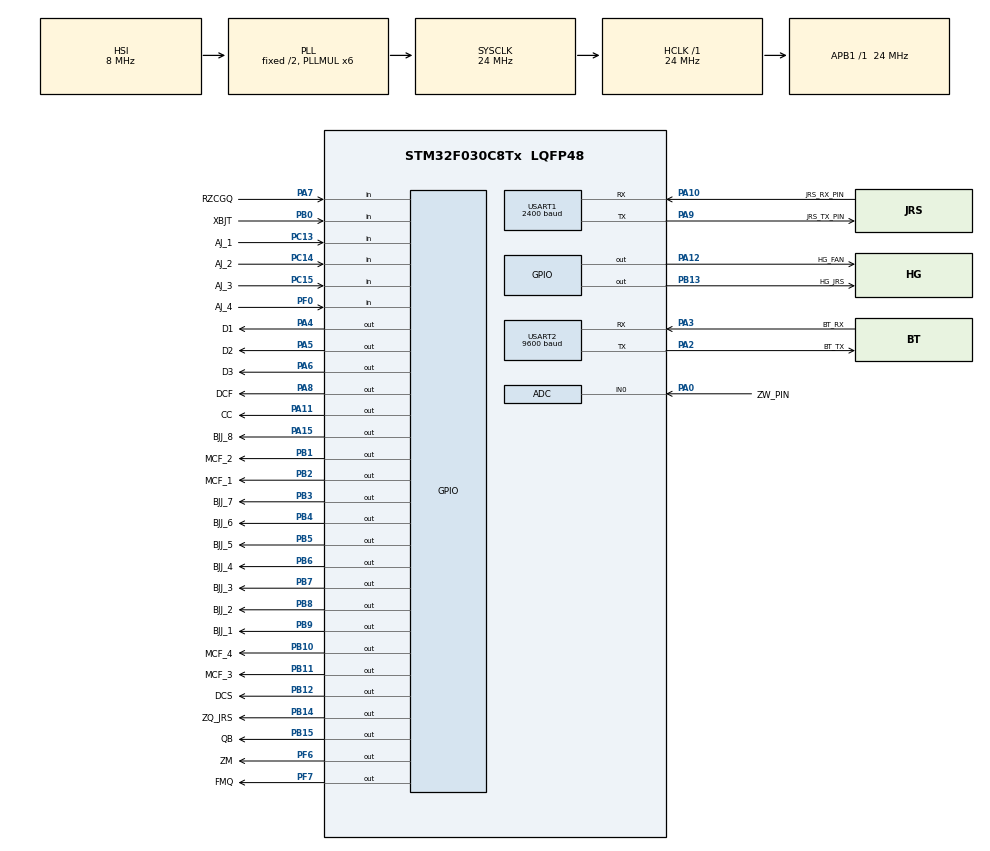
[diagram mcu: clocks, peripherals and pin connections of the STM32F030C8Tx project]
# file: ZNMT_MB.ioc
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ADC.ClockPrescaler=ADC_CLOCK_SYNC_PCLK_DIV4
Dma.Request0=USART1_TX
Dma.Request1=USART2_TX
Dma.USART1_TX.0.Direction=DMA_MEMORY_TO_PERIPH
Dma.USART1_TX.0.Instance=DMA1_Channel2
Dma.USART1_TX.0.MemDataAlignment=DMA_MDATAALIGN_BYTE
Dma.USART1_TX.0.MemInc=DMA_MINC_ENABLE
Dma.USART1_TX.0.Mode=DMA_NORMAL
Dma.USART1_TX.0.PeriphDataAlignment=DMA_PDATAALIGN_BYTE
Dma.USART1_TX.0.PeriphInc=DMA_PINC_DISABLE
Dma.USART1_TX.0.Priority=DMA_PRIORITY_LOW
Dma.USART2_TX.1.Direction=DMA_MEMORY_TO_PERIPH
Dma.USART2_TX.1.Instance=DMA1_Channel4
Dma.USART2_TX.1.MemDataAlignment=DMA_MDATAALIGN_BYTE
Dma.USART2_TX.1.MemInc=DMA_MINC_ENABLE
Dma.USART2_TX.1.Mode=DMA_NORMAL
Dma.USART2_TX.1.PeriphDataAlignment=DMA_PDATAALIGN_BYTE
Dma.USART2_TX.1.PeriphInc=DMA_PINC_DISABLE
Dma.USART2_TX.1.Priority=DMA_PRIORITY_LOW
FREERTOS.BinarySemaphores01=RCTig,Dynamic,NULL
FREERTOS.INCLUDE_uxTaskPriorityGet=0
FREERTOS.INCLUDE_vTaskDelayUntil=1
FREERTOS.INCLUDE_vTaskPrioritySet=0
FREERTOS.Queues01=clearQue,2,uint8_t,0,Dynamic,NULL,NULL;ctrlQue,6,uint8_t,0,Dynamic,NULL,NULL;sCtrlQue,3,uint8_t,0,Dynamic,NULL,NULL;jkQue,16,uint8_t,0,Dynamic,NULL,NULL
FREERTOS.Tasks01=defaultTask,0,100,StartDefaultTask,Default,NULL,Dynamic,NULL,NULL;RCTask,2,64,StartRemoteControl,As external,NULL,Dynamic,NULL,NULL;closestoolTask,0,64,Startclosestool,As external,NULL,Dynamic,NULL,NULL;ctRecord,-2,64,StartCTR,Default,NULL,Dynamic,NULL,NULL
FREERTOS.Timers01=buttonTimer,buttonLoop,osTimerPeriodic,As external,NULL,Dynamic,NULL;ledTimer,ledLoop,osTimerPeriodic,As external,NULL,Dynamic,NULL;hotwater,hotWaterLoop,osTimerPeriodic,As external,NULL,Dynamic,NULL;sitTime,sitLoop,osTimerPeriodic,As external,NULL,Dynamic,NULL;hasSit,startIsSit,osTimerPeriodic,As external,NULL,Dynamic,NULL
FREERTOS.configLIBRARY_MAX_SYSCALL_INTERRUPT_PRIORITY=2
FREERTOS.configMINIMAL_STACK_SIZE=64
FREERTOS.configTOTAL_HEAP_SIZE=4000
FREERTOS.configUSE_IDLE_HOOK=0
FREERTOS.configUSE_TIMERS=1
Mcu.Family=STM32F0
Mcu.Name=STM32F030C8Tx
Mcu.Package=LQFP48
NVIC.DMA1_Channel2_3_IRQn=true\:2\:0\:false\:false\:false\:true\:false\:true
NVIC.DMA1_Channel4_5_IRQn=true\:2\:0\:false\:false\:false\:true\:false\:true
NVIC.TIM14_IRQn=true\:2\:0\:false\:false\:true\:true\:true\:false
NVIC.TIM16_IRQn=true\:2\:0\:false\:false\:true\:true\:true\:false
NVIC.TIM17_IRQn=true\:0\:0\:false\:false\:true\:false\:false\:true
NVIC.TIM3_IRQn=true\:2\:0\:false\:false\:true\:true\:true\:true
NVIC.TIM6_IRQn=true\:2\:0\:false\:false\:true\:true\:true\:false
NVIC.TimeBase=TIM17_IRQn
NVIC.TimeBaseIP=TIM17
NVIC.USART1_IRQn=true\:3\:0\:true\:false\:true\:false\:true\:false
NVIC.USART2_IRQn=true\:3\:0\:true\:false\:true\:true\:true\:false
PA0.GPIO_Label=ZW_PIN
PA0.Mode=IN0
PA0.Signal=ADC_IN0
PA10.GPIO_Label=JRS_RX_PIN
PA10.Mode=Asynchronous
PA10.Signal=USART1_RX
PA11.GPIO_Label=CC
PA11.GPIO_PuPd=GPIO_PULLUP
PA11.Signal=GPIO_Output
PA12.GPIO_Label=HG_FAN
PA12.GPIO_PuPd=GPIO_PULLUP
PA12.Signal=GPIO_Output
PA13.Mode=Serial_Wire
PA13.Signal=SYS_SWDIO
PA14.Mode=Serial_Wire
PA14.Signal=SYS_SWCLK
PA15.GPIO_Label=BJJ_8
PA15.GPIO_PuPd=GPIO_PULLUP
PA15.Signal=GPIO_Output
PA2.GPIO_Label=BT_TX
PA2.Mode=Asynchronous
PA2.Signal=USART2_TX
PA3.GPIO_Label=BT_RX
PA3.Mode=Asynchronous
PA3.Signal=USART2_RX
PA4.GPIO_Label=D1
PA4.GPIO_PuPd=GPIO_PULLUP
PA4.Signal=GPIO_Output
PA5.GPIO_Label=D2
PA5.GPIO_PuPd=GPIO_PULLUP
PA5.Signal=GPIO_Output
PA6.GPIO_Label=D3
PA6.GPIO_PuPd=GPIO_PULLUP
PA6.Signal=GPIO_Output
PA7.GPIO_Label=RZCGQ
PA7.Signal=GPIO_Input
PA8.GPIO_Label=DCF
PA8.GPIO_PuPd=GPIO_PULLUP
PA8.Signal=GPIO_Output
PA9.GPIO_Label=JRS_TX_PIN
PA9.Mode=Asynchronous
PA9.Signal=USART1_TX
PB0.GPIO_Label=XBJT
PB0.GPIO_PuPd=GPIO_PULLUP
PB0.Signal=GPIO_Input
PB1.GPIO_Label=MCF_2
PB1.GPIO_PuPd=GPIO_PULLUP
PB1.Signal=GPIO_Output
PB10.GPIO_Label=MCF_4
PB10.GPIO_PuPd=GPIO_PULLUP
PB10.Signal=GPIO_Output
PB11.GPIO_Label=MCF_3
PB11.GPIO_PuPd=GPIO_PULLUP
PB11.Signal=GPIO_Output
PB12.GPIO_Label=DCS
PB12.GPIO_PuPd=GPIO_PULLUP
PB12.Signal=GPIO_Output
PB13.GPIO_Label=HG_JRS
PB13.GPIO_PuPd=GPIO_PULLUP
PB13.Signal=GPIO_Output
PB14.GPIO_Label=ZQ_JRS
PB14.GPIO_PuPd=GPIO_PULLUP
PB14.Signal=GPIO_Output
PB15.GPIO_Label=QB
PB15.Signal=GPIO_Output
PB2.GPIO_Label=MCF_1
PB2.GPIO_PuPd=GPIO_PULLUP
PB2.Signal=GPIO_Output
PB3.GPIO_Label=BJJ_7
PB3.GPIO_PuPd=GPIO_PULLUP
PB3.Signal=GPIO_Output
PB4.GPIO_Label=BJJ_6
PB4.GPIO_PuPd=GPIO_PULLUP
PB4.Signal=GPIO_Output
PB5.GPIO_Label=BJJ_5
PB5.GPIO_PuPd=GPIO_PULLUP
PB5.Signal=GPIO_Output
PB6.GPIO_Label=BJJ_4
PB6.GPIO_PuPd=GPIO_PULLUP
PB6.Signal=GPIO_Output
PB7.GPIO_Label=BJJ_3
PB7.GPIO_PuPd=GPIO_PULLUP
PB7.Signal=GPIO_Output
PB8.GPIO_Label=BJJ_2
PB8.GPIO_PuPd=GPIO_PULLUP
PB8.Signal=GPIO_Output
PB9.GPIO_Label=BJJ_1
PB9.GPIO_PuPd=GPIO_PULLUP
PB9.Signal=GPIO_Output
PC13.GPIO_Label=AJ_1
PC13.GPIO_PuPd=GPIO_PULLUP
PC13.Signal=GPIO_Input
PC14-OSC32_IN.GPIO_Label=AJ_2
PC14-OSC32_IN.GPIO_PuPd=GPIO_PULLUP
PC14-OSC32_IN.Signal=GPIO_Input
PC15-OSC32_OUT.GPIO_Label=AJ_3
PC15-OSC32_OUT.GPIO_PuPd=GPIO_PULLUP
PC15-OSC32_OUT.Signal=GPIO_Input
PF0-OSC_IN.GPIO_Label=AJ_4
PF0-OSC_IN.GPIO_PuPd=GPIO_PULLUP
PF0-OSC_IN.Signal=GPIO_Input
PF6.GPIO_Label=ZM
PF6.GPIO_PuPd=GPIO_PULLUP
PF6.Signal=GPIO_Output
PF7.GPIO_Label=FMQ
PF7.GPIO_PuPd=GPIO_PULLUP
PF7.Signal=GPIO_Output
ProjectManager.HeapSize=0x200
ProjectManager.StackSize=0x400
ProjectManager.TargetToolchain=MDK-ARM V5
RCC.AHBFreq_Value=24000000
RCC.APB1Freq_Value=24000000
RCC.APB1TimFreq_Value=24000000
RCC.HCLKFreq_Value=24000000
RCC.PLLMUL=RCC_PLL_MUL6
RCC.SYSCLKFreq_VALUE=24000000
RCC.SYSCLKSource=RCC_SYSCLKSOURCE_PLLCLK
TIM14.ClockDivision=TIM_CLOCKDIVISION_DIV1
TIM14.Period=6
TIM14.Prescaler=7999
TIM16.Period=1000
TIM16.Prescaler=24000
TIM3.Period=299
TIM3.Prescaler=23999
TIM6.AutoReloadPreload=TIM_AUTORELOAD_PRELOAD_DISABLE
TIM6.Period=6
TIM6.Prescaler=7999
USART1.BaudRate=2400
USART1.OverSampling=UART_OVERSAMPLING_8
USART1.VirtualMode-Asynchronous=VM_ASYNC
USART2.BaudRate=9600
USART2.VirtualMode-Asynchronous=VM_ASYNC
VP_ADC_Vref_Input.Mode=IN-Vrefint
VP_FREERTOS_VS_CMSIS_V1.Mode=CMSIS_V1
VP_SYS_VS_tim17.Mode=TIM17
VP_TIM14_VS_ClockSourceINT.Mode=Enable_Timer
VP_TIM16_VS_ClockSourceINT.Mode=Enable_Timer
VP_TIM3_VS_OPM.Mode=OPM_bit
VP_TIM6_VS_ClockSourceINT.Mode=Enable_Timer
board=custom

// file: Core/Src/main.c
/* USER CODE BEGIN Header */
/**
  ******************************************************************************
  * @file           : main.c
  * @brief          : Main program body
  ******************************************************************************
  * @attention
  *
  * <h2><center>&copy; Copyright (c) 2019 STMicroelectronics.
  * All rights reserved.</center></h2>
  *
  * This software component is licensed by ST under Ultimate Liberty license
  * SLA0044, the "License"; You may not use this file except in compliance with
  * the License. You may obtain a copy of the License at:
  *                             www.st.com/SLA0044
  *
  ******************************************************************************
  */
/* USER CODE END Header */

#include "main.h"
#include "cmsis_os.h"

/* USER CODE BEGIN Includes */
#include "seat_heat.h"
#include "eeprom.h"
#include "stm32f0xx_hal_pwr.h"
/* USER CODE END Includes */

/* USER CODE BEGIN PD */
_Bool	is_noAC =pdFALSE;
uint8_t clearState=0;
extern uint32_t jkListRead;
extern uint32_t jkListWrite;
uint32_t * timeStamp;
/* USER CODE END PD */

ADC_HandleTypeDef hadc;

osThreadId defaultTaskHandle;
osThreadId RCTaskHandle;
osThreadId closestoolTaskHandle;
osThreadId ctRecordHandle;
osMessageQId clearQueHandle;
osMessageQId ctrlQueHandle;
osMessageQId sCtrlQueHandle;
osMessageQId jkQueHandle;
osTimerId buttonTimerHandle;
osTimerId ledTimerHandle;
osTimerId hotwaterHandle;
osTimerId sitTimeHandle;
osTimerId hasSitHandle;
osSemaphoreId RCTigHandle;

void SystemClock_Config(void);
static void MX_GPIO_Init(void);
static void MX_DMA_Init(void);
static void MX_USART2_UART_Init(void);
static void MX_USART1_UART_Init(void);
static void MX_ADC_Init(void);
static void MX_TIM6_Init(void);
static void MX_TIM14_Init(void);
static void MX_TIM16_Init(void);
static void MX_TIM3_Init(void);
void StartDefaultTask(void const * argument);
extern void StartRemoteControl(void const * argument);
extern void Startclosestool(void const * argument);
void StartCTR(void const * argument);
extern void buttonLoop(void const * argument);
extern void ledLoop(void const * argument);
extern void hotWaterLoop(void const * argument);
extern void sitLoop(void const * argument);
extern void startIsSit(void const * argument);

int main(void)
{
  /* USER CODE BEGIN 1 */
	//printf("AD value = 0x%04X\r\n", 1234);

  /* USER CODE END 1 */

  /* MCU Configuration--------------------------------------------------------*/

  /* Reset of all peripherals, Initializes the Flash interface and the Systick. */
  HAL_Init();

  /* Configure the system clock */
  SystemClock_Config();

  /* Initialize all configured peripherals */
  MX_GPIO_Init();
  MX_DMA_Init();
  MX_USART2_UART_Init();
  MX_USART1_UART_Init();
  MX_ADC_Init();
  MX_TIM6_Init();
  MX_TIM14_Init();
  MX_TIM16_Init();
  MX_TIM3_Init();
  /* USER CODE BEGIN 2 */
	LL_GPIO_SetOutputPin(ZQ_JRS_GPIO_Port,ZQ_JRS_Pin);
	LL_GPIO_SetOutputPin(HG_JRS_GPIO_Port,HG_JRS_Pin);
	is_noAC=!LL_GPIO_IsInputPinSet(AJ_1_GPIO_Port,AJ_1_Pin);
  /* USER CODE END 2 */

  /* Create the semaphores(s) */
  /* definition and creation of RCTig */
  osSemaphoreDef(RCTig);
  RCTigHandle = osSemaphoreCreate(osSemaphore(RCTig), 1);

  /* Create the timer(s) */
  /* definition and creation of buttonTimer */
  osTimerDef(buttonTimer, buttonLoop);
  buttonTimerHandle = osTimerCreate(osTimer(buttonTimer), osTimerPeriodic, NULL);

  /* definition and creation of ledTimer */
  osTimerDef(ledTimer, ledLoop);
  ledTimerHandle = osTimerCreate(osTimer(ledTimer), osTimerPeriodic, NULL);

  /* definition and creation of hotwater */
  osTimerDef(hotwater, hotWaterLoop);
  hotwaterHandle = osTimerCreate(osTimer(hotwater), osTimerPeriodic, NULL);

  /* definition and creation of sitTime */
  osTimerDef(sitTime, sitLoop);
  sitTimeHandle = osTimerCreate(osTimer(sitTime), osTimerPeriodic, NULL);

  /* definition and creation of hasSit */
  osTimerDef(hasSit, startIsSit);
  hasSitHandle = osTimerCreate(osTimer(hasSit), osTimerPeriodic, NULL);

  /* Create the queue(s) */
  /* definition and creation of clearQue */
  osMessageQDef(clearQue, 2, uint8_t);
  clearQueHandle = osMessageCreate(osMessageQ(clearQue), NULL);

  /* definition and creation of ctrlQue */
  osMessageQDef(ctrlQue, 6, uint8_t);
  ctrlQueHandle = osMessageCreate(osMessageQ(ctrlQue), NULL);

  /* definition and creation of sCtrlQue */
  osMessageQDef(sCtrlQue, 3, uint8_t);
  sCtrlQueHandle = osMessageCreate(osMessageQ(sCtrlQue), NULL);

  /* definition and creation of jkQue */
  osMessageQDef(jkQue, 16, uint8_t);
  jkQueHandle = osMessageCreate(osMessageQ(jkQue), NULL);

  /* Create the thread(s) */
  /* definition and creation of defaultTask */
  osThreadDef(defaultTask, StartDefaultTask, osPriorityNormal, 0, 100);
  defaultTaskHandle = osThreadCreate(osThread(defaultTask), NULL);

  /* definition and creation of RCTask */
  osThreadDef(RCTask, StartRemoteControl, osPriorityHigh, 0, 64);
  RCTaskHandle = osThreadCreate(osThread(RCTask), NULL);

  /* definition and creation of closestoolTask */
  osThreadDef(closestoolTask, Startclosestool, osPriorityNormal, 0, 64);
  closestoolTaskHandle = osThreadCreate(osThread(closestoolTask), NULL);

  /* definition and creation of ctRecord */
  osThreadDef(ctRecord, StartCTR, osPriorityLow, 0, 64);
  ctRecordHandle = osThreadCreate(osThread(ctRecord), NULL);

  /* USER CODE BEGIN RTOS_THREADS */
	if(is_noAC){
		osThreadSuspend(RCTaskHandle);
	}
  /* add threads, ... */
  /* USER CODE END RTOS_THREADS */

  /* Start scheduler */
  osKernelStart();

  /* We should never get here as control is now taken by the scheduler */

  /* Infinite loop */
  while (1)
  {

  }
}

void SystemClock_Config(void)
{
  RCC_OscInitTypeDef RCC_OscInitStruct = {0};
  RCC_ClkInitTypeDef RCC_ClkInitStruct = {0};
  RCC_PeriphCLKInitTypeDef PeriphClkInit = {0};

  /** Initializes the CPU, AHB and APB busses clocks
  */
  RCC_OscInitStruct.OscillatorType = RCC_OSCILLATORTYPE_HSI;
  RCC_OscInitStruct.HSIState = RCC_HSI_ON;
  RCC_OscInitStruct.HSICalibrationValue = RCC_HSICALIBRATION_DEFAULT;
  RCC_OscInitStruct.PLL.PLLState = RCC_PLL_ON;
  RCC_OscInitStruct.PLL.PLLSource = RCC_PLLSOURCE_HSI;
  RCC_OscInitStruct.PLL.PLLMUL = RCC_PLL_MUL6;
  RCC_OscInitStruct.PLL.PREDIV = RCC_PREDIV_DIV1;
  if (HAL_RCC_OscConfig(&RCC_OscInitStruct) != HAL_OK)
  {
    Error_Handler();
  }
  /** Initializes the CPU, AHB and APB busses clocks
  */
  RCC_ClkInitStruct.ClockType = RCC_CLOCKTYPE_HCLK|RCC_CLOCKTYPE_SYSCLK
                              |RCC_CLOCKTYPE_PCLK1;
  RCC_ClkInitStruct.SYSCLKSource = RCC_SYSCLKSOURCE_PLLCLK;
  RCC_ClkInitStruct.AHBCLKDivider = RCC_SYSCLK_DIV1;
  RCC_ClkInitStruct.APB1CLKDivider = RCC_HCLK_DIV1;

  if (HAL_RCC_ClockConfig(&RCC_ClkInitStruct, FLASH_LATENCY_0) != HAL_OK)
  {
    Error_Handler();
  }
  PeriphClkInit.PeriphClockSelection = RCC_PERIPHCLK_USART1;
  PeriphClkInit.Usart1ClockSelection = RCC_USART1CLKSOURCE_PCLK1;
  if (HAL_RCCEx_PeriphCLKConfig(&PeriphClkInit) != HAL_OK)
  {
    Error_Handler();
  }
}

static void MX_ADC_Init(void)
{

  ADC_ChannelConfTypeDef sConfig = {0};

  /** Configure the global features of the ADC (Clock, Resolution, Data Alignment and number of conversion)
  */
  hadc.Instance = ADC1;
  hadc.Init.ClockPrescaler = ADC_CLOCK_SYNC_PCLK_DIV4;
  hadc.Init.Resolution = ADC_RESOLUTION_12B;
  hadc.Init.DataAlign = ADC_DATAALIGN_RIGHT;
  hadc.Init.ScanConvMode = ADC_SCAN_DIRECTION_FORWARD;
  hadc.Init.EOCSelection = ADC_EOC_SINGLE_CONV;
  hadc.Init.LowPowerAutoWait = DISABLE;
  hadc.Init.LowPowerAutoPowerOff = DISABLE;
  hadc.Init.ContinuousConvMode = DISABLE;
  hadc.Init.DiscontinuousConvMode = DISABLE;
  hadc.Init.ExternalTrigConv = ADC_SOFTWARE_START;
  hadc.Init.ExternalTrigConvEdge = ADC_EXTERNALTRIGCONVEDGE_NONE;
  hadc.Init.DMAContinuousRequests = DISABLE;
  hadc.Init.Overrun = ADC_OVR_DATA_PRESERVED;
  if (HAL_ADC_Init(&hadc) != HAL_OK)
  {
    Error_Handler();
  }
  /** Configure for the selected ADC regular channel to be converted.
  */
  sConfig.Channel = ADC_CHANNEL_0;
  sConfig.Rank = ADC_RANK_CHANNEL_NUMBER;
  sConfig.SamplingTime = ADC_SAMPLETIME_1CYCLE_5;
  if (HAL_ADC_ConfigChannel(&hadc, &sConfig) != HAL_OK)
  {
    Error_Handler();
  }

}

static void MX_TIM3_Init(void)
{

  LL_TIM_InitTypeDef TIM_InitStruct = {0};

  /* Peripheral clock enable */
  LL_APB1_GRP1_EnableClock(LL_APB1_GRP1_PERIPH_TIM3);

  /* TIM3 interrupt Init */
  NVIC_SetPriority(TIM3_IRQn, 2);
  NVIC_EnableIRQ(TIM3_IRQn);

  TIM_InitStruct.Prescaler = 23999;
  TIM_InitStruct.CounterMode = LL_TIM_COUNTERMODE_UP;
  TIM_InitStruct.Autoreload = 299;
  TIM_InitStruct.ClockDivision = LL_TIM_CLOCKDIVISION_DIV1;
  LL_TIM_Init(TIM3, &TIM_InitStruct);
  LL_TIM_DisableARRPreload(TIM3);
  LL_TIM_SetOnePulseMode(TIM3, LL_TIM_ONEPULSEMODE_SINGLE);

}

static void MX_TIM6_Init(void)
{

  LL_TIM_InitTypeDef TIM_InitStruct = {0};

  /* Peripheral clock enable */
  LL_APB1_GRP1_EnableClock(LL_APB1_GRP1_PERIPH_TIM6);

  /* TIM6 interrupt Init */
  NVIC_SetPriority(TIM6_IRQn, 2);
  NVIC_EnableIRQ(TIM6_IRQn);

  TIM_InitStruct.Prescaler = 7999;
  TIM_InitStruct.CounterMode = LL_TIM_COUNTERMODE_UP;
  TIM_InitStruct.Autoreload = 6;
  LL_TIM_Init(TIM6, &TIM_InitStruct);
  LL_TIM_DisableARRPreload(TIM6);

}

static void MX_TIM14_Init(void)
{

  LL_TIM_InitTypeDef TIM_InitStruct = {0};

  /* Peripheral clock enable */
  LL_APB1_GRP1_EnableClock(LL_APB1_GRP1_PERIPH_TIM14);

  /* TIM14 interrupt Init */
  NVIC_SetPriority(TIM14_IRQn, 2);
  NVIC_EnableIRQ(TIM14_IRQn);

  TIM_InitStruct.Prescaler = 7999;
  TIM_InitStruct.CounterMode = LL_TIM_COUNTERMODE_UP;
  TIM_InitStruct.Autoreload = 6;
  TIM_InitStruct.ClockDivision = LL_TIM_CLOCKDIVISION_DIV1;
  LL_TIM_Init(TIM14, &TIM_InitStruct);
  LL_TIM_DisableARRPreload(TIM14);

}

static void MX_TIM16_Init(void)
{

  LL_TIM_InitTypeDef TIM_InitStruct = {0};

  /* Peripheral clock enable */
  LL_APB1_GRP2_EnableClock(LL_APB1_GRP2_PERIPH_TIM16);

  /* TIM16 interrupt Init */
  NVIC_SetPriority(TIM16_IRQn, 2);
  NVIC_EnableIRQ(TIM16_IRQn);

  TIM_InitStruct.Prescaler = 24000;
  TIM_InitStruct.CounterMode = LL_TIM_COUNTERMODE_UP;
  TIM_InitStruct.Autoreload = 1000;
  TIM_InitStruct.ClockDivision = LL_TIM_CLOCKDIVISION_DIV1;
  TIM_InitStruct.RepetitionCounter = 0;
  LL_TIM_Init(TIM16, &TIM_InitStruct);
  LL_TIM_DisableARRPreload(TIM16);

}

static void MX_USART1_UART_Init(void)
{

  LL_USART_InitTypeDef USART_InitStruct = {0};

  LL_GPIO_InitTypeDef GPIO_InitStruct = {0};

  /* Peripheral clock enable */
  LL_APB1_GRP2_EnableClock(LL_APB1_GRP2_PERIPH_USART1);

  LL_AHB1_GRP1_EnableClock(LL_AHB1_GRP1_PERIPH_GPIOA);
  /**USART1 GPIO Configuration
  PA9   ------> USART1_TX
  PA10   ------> USART1_RX
  */
  GPIO_InitStruct.Pin = JRS_TX_PIN_Pin;
  GPIO_InitStruct.Mode = LL_GPIO_MODE_ALTERNATE;
  GPIO_InitStruct.Speed = LL_GPIO_SPEED_FREQ_HIGH;
  GPIO_InitStruct.OutputType = LL_GPIO_OUTPUT_PUSHPULL;
  GPIO_InitStruct.Pull = LL_GPIO_PULL_NO;
  GPIO_InitStruct.Alternate = LL_GPIO_AF_1;
  LL_GPIO_Init(JRS_TX_PIN_GPIO_Port, &GPIO_InitStruct);

  GPIO_InitStruct.Pin = JRS_RX_PIN_Pin;
  GPIO_InitStruct.Mode = LL_GPIO_MODE_ALTERNATE;
  GPIO_InitStruct.Speed = LL_GPIO_SPEED_FREQ_HIGH;
  GPIO_InitStruct.OutputType = LL_GPIO_OUTPUT_PUSHPULL;
  GPIO_InitStruct.Pull = LL_GPIO_PULL_NO;
  GPIO_InitStruct.Alternate = LL_GPIO_AF_1;
  LL_GPIO_Init(JRS_RX_PIN_GPIO_Port, &GPIO_InitStruct);

  /* USART1 DMA Init */

  /* USART1_TX Init */
  LL_DMA_SetDataTransferDirection(DMA1, LL_DMA_CHANNEL_2, LL_DMA_DIRECTION_MEMORY_TO_PERIPH);

  LL_DMA_SetChannelPriorityLevel(DMA1, LL_DMA_CHANNEL_2, LL_DMA_PRIORITY_LOW);

  LL_DMA_SetMode(DMA1, LL_DMA_CHANNEL_2, LL_DMA_MODE_NORMAL);

  LL_DMA_SetPeriphIncMode(DMA1, LL_DMA_CHANNEL_2, LL_DMA_PERIPH_NOINCREMENT);

  LL_DMA_SetMemoryIncMode(DMA1, LL_DMA_CHANNEL_2, LL_DMA_MEMORY_INCREMENT);

  LL_DMA_SetPeriphSize(DMA1, LL_DMA_CHANNEL_2, LL_DMA_PDATAALIGN_BYTE);

  LL_DMA_SetMemorySize(DMA1, LL_DMA_CHANNEL_2, LL_DMA_MDATAALIGN_BYTE);

  /* USART1 interrupt Init */
  NVIC_SetPriority(USART1_IRQn, 3);
  NVIC_EnableIRQ(USART1_IRQn);

  USART_InitStruct.BaudRate = 2400;
  USART_InitStruct.DataWidth = LL_USART_DATAWIDTH_8B;
  USART_InitStruct.StopBits = LL_USART_STOPBITS_1;
  USART_InitStruct.Parity = LL_USART_PARITY_NONE;
  USART_InitStruct.TransferDirection = LL_USART_DIRECTION_TX_RX;
  USART_InitStruct.HardwareFlowControl = LL_USART_HWCONTROL_NONE;
  USART_InitStruct.OverSampling = LL_USART_OVERSAMPLING_8;
  LL_USART_Init(USART1, &USART_InitStruct);
  LL_USART_DisableIT_CTS(USART1);
  LL_USART_ConfigAsyncMode(USART1);
  LL_USART_Enable(USART1);

}

static void MX_USART2_UART_Init(void)
{

  LL_USART_InitTypeDef USART_InitStruct = {0};

  LL_GPIO_InitTypeDef GPIO_InitStruct = {0};

  /* Peripheral clock enable */
  LL_APB1_GRP1_EnableClock(LL_APB1_GRP1_PERIPH_USART2);

  LL_AHB1_GRP1_EnableClock(LL_AHB1_GRP1_PERIPH_GPIOA);
  /**USART2 GPIO Configuration
  PA2   ------> USART2_TX
  PA3   ------> USART2_RX
  */
  GPIO_InitStruct.Pin = BT_TX_Pin;
  GPIO_InitStruct.Mode = LL_GPIO_MODE_ALTERNATE;
  GPIO_InitStruct.Speed = LL_GPIO_SPEED_FREQ_HIGH;
  GPIO_InitStruct.OutputType = LL_GPIO_OUTPUT_PUSHPULL;
  GPIO_InitStruct.Pull = LL_GPIO_PULL_NO;
  GPIO_InitStruct.Alternate = LL_GPIO_AF_1;
  LL_GPIO_Init(BT_TX_GPIO_Port, &GPIO_InitStruct);

  GPIO_InitStruct.Pin = BT_RX_Pin;
  GPIO_InitStruct.Mode = LL_GPIO_MODE_ALTERNATE;
  GPIO_InitStruct.Speed = LL_GPIO_SPEED_FREQ_HIGH;
  GPIO_InitStruct.OutputType = LL_GPIO_OUTPUT_PUSHPULL;
  GPIO_InitStruct.Pull = LL_GPIO_PULL_NO;
  GPIO_InitStruct.Alternate = LL_GPIO_AF_1;
  LL_GPIO_Init(BT_RX_GPIO_Port, &GPIO_InitStruct);

  /* USART2 DMA Init */

  /* USART2_TX Init */
  LL_DMA_SetDataTransferDirection(DMA1, LL_DMA_CHANNEL_4, LL_DMA_DIRECTION_MEMORY_TO_PERIPH);

  LL_DMA_SetChannelPriorityLevel(DMA1, LL_DMA_CHANNEL_4, LL_DMA_PRIORITY_LOW);

  LL_DMA_SetMode(DMA1, LL_DMA_CHANNEL_4, LL_DMA_MODE_NORMAL);

  LL_DMA_SetPeriphIncMode(DMA1, LL_DMA_CHANNEL_4, LL_DMA_PERIPH_NOINCREMENT);

  LL_DMA_SetMemoryIncMode(DMA1, LL_DMA_CHANNEL_4, LL_DMA_MEMORY_INCREMENT);

  LL_DMA_SetPeriphSize(DMA1, LL_DMA_CHANNEL_4, LL_DMA_PDATAALIGN_BYTE);

  LL_DMA_SetMemorySize(DMA1, LL_DMA_CHANNEL_4, LL_DMA_MDATAALIGN_BYTE);

  /* USART2 interrupt Init */
  NVIC_SetPriority(USART2_IRQn, 3);
  NVIC_EnableIRQ(USART2_IRQn);

  USART_InitStruct.BaudRate = 9600;
  USART_InitStruct.DataWidth = LL_USART_DATAWIDTH_8B;
  USART_InitStruct.StopBits = LL_USART_STOPBITS_1;
  USART_InitStruct.Parity = LL_USART_PARITY_NONE;
  USART_InitStruct.TransferDirection = LL_USART_DIRECTION_TX_RX;
  USART_InitStruct.HardwareFlowControl = LL_USART_HWCONTROL_NONE;
  USART_InitStruct.OverSampling = LL_USART_OVERSAMPLING_16;
  LL_USART_Init(USART2, &USART_InitStruct);
  LL_USART_DisableIT_CTS(USART2);
  LL_USART_ConfigAsyncMode(USART2);
  LL_USART_Enable(USART2);
  /* USER CODE BEGIN USART2_Init 2 */
	LL_USART_EnableIT_RXNE(USART2);
  /* USER CODE END USART2_Init 2 */

}

static void MX_DMA_Init(void)
{

  /* Init with LL driver */
  /* DMA controller clock enable */
  LL_AHB1_GRP1_EnableClock(LL_AHB1_GRP1_PERIPH_DMA1);

  /* DMA interrupt init */
  /* DMA1_Channel2_3_IRQn interrupt configuration */
  NVIC_SetPriority(DMA1_Channel2_3_IRQn, 2);
  NVIC_EnableIRQ(DMA1_Channel2_3_IRQn);
  /* DMA1_Channel4_5_IRQn interrupt configuration */
  NVIC_SetPriority(DMA1_Channel4_5_IRQn, 2);
  NVIC_EnableIRQ(DMA1_Channel4_5_IRQn);

}

static void MX_GPIO_Init(void)
{
  LL_GPIO_InitTypeDef GPIO_InitStruct = {0};

  /* GPIO Ports Clock Enable */
  LL_AHB1_GRP1_EnableClock(LL_AHB1_GRP1_PERIPH_GPIOC);
  LL_AHB1_GRP1_EnableClock(LL_AHB1_GRP1_PERIPH_GPIOF);
  LL_AHB1_GRP1_EnableClock(LL_AHB1_GRP1_PERIPH_GPIOA);
  LL_AHB1_GRP1_EnableClock(LL_AHB1_GRP1_PERIPH_GPIOB);

  /**/
  LL_GPIO_ResetOutputPin(D1_GPIO_Port, D1_Pin);

  /**/
  LL_GPIO_ResetOutputPin(D2_GPIO_Port, D2_Pin);

  /**/
  LL_GPIO_ResetOutputPin(D3_GPIO_Port, D3_Pin);

  /**/
  LL_GPIO_ResetOutputPin(MCF_2_GPIO_Port, MCF_2_Pin);

  /**/
  LL_GPIO_ResetOutputPin(MCF_1_GPIO_Port, MCF_1_Pin);

  /**/
  LL_GPIO_ResetOutputPin(MCF_4_GPIO_Port, MCF_4_Pin);

  /**/
  LL_GPIO_ResetOutputPin(MCF_3_GPIO_Port, MCF_3_Pin);

  /**/
  LL_GPIO_ResetOutputPin(DCS_GPIO_Port, DCS_Pin);

  /**/
  LL_GPIO_ResetOutputPin(HG_JRS_GPIO_Port, HG_JRS_Pin);

  /**/
  LL_GPIO_ResetOutputPin(ZQ_JRS_GPIO_Port, ZQ_JRS_Pin);

  /**/
  LL_GPIO_ResetOutputPin(QB_GPIO_Port, QB_Pin);

  /**/
  LL_GPIO_ResetOutputPin(DCF_GPIO_Port, DCF_Pin);

  /**/
  LL_GPIO_ResetOutputPin(CC_GPIO_Port, CC_Pin);

  /**/
  LL_GPIO_ResetOutputPin(HG_FAN_GPIO_Port, HG_FAN_Pin);

  /**/
  LL_GPIO_ResetOutputPin(ZM_GPIO_Port, ZM_Pin);

  /**/
  LL_GPIO_ResetOutputPin(FMQ_GPIO_Port, FMQ_Pin);

  /**/
  LL_GPIO_ResetOutputPin(BJJ_8_GPIO_Port, BJJ_8_Pin);

  /**/
  LL_GPIO_ResetOutputPin(BJJ_7_GPIO_Port, BJJ_7_Pin);

  /**/
  LL_GPIO_ResetOutputPin(BJJ_6_GPIO_Port, BJJ_6_Pin);

  /**/
  LL_GPIO_ResetOutputPin(BJJ_5_GPIO_Port, BJJ_5_Pin);

  /**/
  LL_GPIO_ResetOutputPin(BJJ_4_GPIO_Port, BJJ_4_Pin);

  /**/
  LL_GPIO_ResetOutputPin(BJJ_3_GPIO_Port, BJJ_3_Pin);

  /**/
  LL_GPIO_ResetOutputPin(BJJ_2_GPIO_Port, BJJ_2_Pin);

  /**/
  LL_GPIO_ResetOutputPin(BJJ_1_GPIO_Port, BJJ_1_Pin);

  /**/
  GPIO_InitStruct.Pin = AJ_1_Pin;
  GPIO_InitStruct.Mode = LL_GPIO_MODE_INPUT;
  GPIO_InitStruct.Pull = LL_GPIO_PULL_UP;
  LL_GPIO_Init(AJ_1_GPIO_Port, &GPIO_InitStruct);

  /**/
  GPIO_InitStruct.Pin = AJ_2_Pin;
  GPIO_InitStruct.Mode = LL_GPIO_MODE_INPUT;
  GPIO_InitStruct.Pull = LL_GPIO_PULL_UP;
  LL_GPIO_Init(AJ_2_GPIO_Port, &GPIO_InitStruct);

  /**/
  GPIO_InitStruct.Pin = AJ_3_Pin;
  GPIO_InitStruct.Mode = LL_GPIO_MODE_INPUT;
  GPIO_InitStruct.Pull = LL_GPIO_PULL_UP;
  LL_GPIO_Init(AJ_3_GPIO_Port, &GPIO_InitStruct);

  /**/
  GPIO_InitStruct.Pin = AJ_4_Pin;
  GPIO_InitStruct.Mode = LL_GPIO_MODE_INPUT;
  GPIO_InitStruct.Pull = LL_GPIO_PULL_UP;
  LL_GPIO_Init(AJ_4_GPIO_Port, &GPIO_InitStruct);

  /**/
  GPIO_InitStruct.Pin = D1_Pin;
  GPIO_InitStruct.Mode = LL_GPIO_MODE_OUTPUT;
  GPIO_InitStruct.Speed = LL_GPIO_SPEED_FREQ_LOW;
  GPIO_InitStruct.OutputType = LL_GPIO_OUTPUT_PUSHPULL;
  GPIO_InitStruct.Pull = LL_GPIO_PULL_UP;
  LL_GPIO_Init(D1_GPIO_Port, &GPIO_InitStruct);

  /**/
  GPIO_InitStruct.Pin = D2_Pin;
  GPIO_InitStruct.Mode = LL_GPIO_MODE_OUTPUT;
  GPIO_InitStruct.Speed = LL_GPIO_SPEED_FREQ_LOW;
  GPIO_InitStruct.OutputType = LL_GPIO_OUTPUT_PUSHPULL;
  GPIO_InitStruct.Pull = LL_GPIO_PULL_UP;
  LL_GPIO_Init(D2_GPIO_Port, &GPIO_InitStruct);

  /**/
  GPIO_InitStruct.Pin = D3_Pin;
  GPIO_InitStruct.Mode = LL_GPIO_MODE_OUTPUT;
  GPIO_InitStruct.Speed = LL_GPIO_SPEED_FREQ_LOW;
  GPIO_InitStruct.OutputType = LL_GPIO_OUTPUT_PUSHPULL;
  GPIO_InitStruct.Pull = LL_GPIO_PULL_UP;
  LL_GPIO_Init(D3_GPIO_Port, &GPIO_InitStruct);

  /**/
  GPIO_InitStruct.Pin = RZCGQ_Pin;
  GPIO_InitStruct.Mode = LL_GPIO_MODE_INPUT;
  GPIO_InitStruct.Pull = LL_GPIO_PULL_NO;
  LL_GPIO_Init(RZCGQ_GPIO_Port, &GPIO_InitStruct);

  /**/
  GPIO_InitStruct.Pin = XBJT_Pin;
  GPIO_InitStruct.Mode = LL_GPIO_MODE_INPUT;
  GPIO_InitStruct.Pull = LL_GPIO_PULL_UP;
  LL_GPIO_Init(XBJT_GPIO_Port, &GPIO_InitStruct);

  /**/
  GPIO_InitStruct.Pin = MCF_2_Pin;
  GPIO_InitStruct.Mode = LL_GPIO_MODE_OUTPUT;
  GPIO_InitStruct.Speed = LL_GPIO_SPEED_FREQ_LOW;
  GPIO_InitStruct.OutputType = LL_GPIO_OUTPUT_PUSHPULL;
  GPIO_InitStruct.Pull = LL_GPIO_PULL_UP;
  LL_GPIO_Init(MCF_2_GPIO_Port, &GPIO_InitStruct);

  /**/
  GPIO_InitStruct.Pin = MCF_1_Pin;
  GPIO_InitStruct.Mode = LL_GPIO_MODE_OUTPUT;
  GPIO_InitStruct.Speed = LL_GPIO_SPEED_FREQ_LOW;
  GPIO_InitStruct.OutputType = LL_GPIO_OUTPUT_PUSHPULL;
  GPIO_InitStruct.Pull = LL_GPIO_PULL_UP;
  LL_GPIO_Init(MCF_1_GPIO_Port, &GPIO_InitStruct);

  /**/
  GPIO_InitStruct.Pin = MCF_4_Pin;
  GPIO_InitStruct.Mode = LL_GPIO_MODE_OUTPUT;
  GPIO_InitStruct.Speed = LL_GPIO_SPEED_FREQ_LOW;
  GPIO_InitStruct.OutputType = LL_GPIO_OUTPUT_PUSHPULL;
  GPIO_InitStruct.Pull = LL_GPIO_PULL_UP;
  LL_GPIO_Init(MCF_4_GPIO_Port, &GPIO_InitStruct);

  /**/
  GPIO_InitStruct.Pin = MCF_3_Pin;
  GPIO_InitStruct.Mode = LL_GPIO_MODE_OUTPUT;
  GPIO_InitStruct.Speed = LL_GPIO_SPEED_FREQ_LOW;
  GPIO_InitStruct.OutputType = LL_GPIO_OUTPUT_PUSHPULL;
  GPIO_InitStruct.Pull = LL_GPIO_PULL_UP;
  LL_GPIO_Init(MCF_3_GPIO_Port, &GPIO_InitStruct);

  /**/
  GPIO_InitStruct.Pin = DCS_Pin;
  GPIO_InitStruct.Mode = LL_GPIO_MODE_OUTPUT;
  GPIO_InitStruct.Speed = LL_GPIO_SPEED_FREQ_LOW;
  GPIO_InitStruct.OutputType = LL_GPIO_OUTPUT_PUSHPULL;
  GPIO_InitStruct.Pull = LL_GPIO_PULL_UP;
  LL_GPIO_Init(DCS_GPIO_Port, &GPIO_InitStruct);

  /**/
  GPIO_InitStruct.Pin = HG_JRS_Pin;
  GPIO_InitStruct.Mode = LL_GPIO_MODE_OUTPUT;
  GPIO_InitStruct.Speed = LL_GPIO_SPEED_FREQ_LOW;
  GPIO_InitStruct.OutputType = LL_GPIO_OUTPUT_PUSHPULL;
  GPIO_InitStruct.Pull = LL_GPIO_PULL_UP;
  LL_GPIO_Init(HG_JRS_GPIO_Port, &GPIO_InitStruct);

  /**/
  GPIO_InitStruct.Pin = ZQ_JRS_Pin;
  GPIO_InitStruct.Mode = LL_GPIO_MODE_OUTPUT;
  GPIO_InitStruct.Speed = LL_GPIO_SPEED_FREQ_LOW;
  GPIO_InitStruct.OutputType = LL_GPIO_OUTPUT_PUSHPULL;
  GPIO_InitStruct.Pull = LL_GPIO_PULL_UP;
  LL_GPIO_Init(ZQ_JRS_GPIO_Port, &GPIO_InitStruct);

  /**/
  GPIO_InitStruct.Pin = QB_Pin;
  GPIO_InitStruct.Mode = LL_GPIO_MODE_OUTPUT;
  GPIO_InitStruct.Speed = LL_GPIO_SPEED_FREQ_LOW;
  GPIO_InitStruct.OutputType = LL_GPIO_OUTPUT_PUSHPULL;
  GPIO_InitStruct.Pull = LL_GPIO_PULL_NO;
  LL_GPIO_Init(QB_GPIO_Port, &GPIO_InitStruct);

  /**/
  GPIO_InitStruct.Pin = DCF_Pin;
  GPIO_InitStruct.Mode = LL_GPIO_MODE_OUTPUT;
  GPIO_InitStruct.Speed = LL_GPIO_SPEED_FREQ_LOW;
  GPIO_InitStruct.OutputType = LL_GPIO_OUTPUT_PUSHPULL;
  GPIO_InitStruct.Pull = LL_GPIO_PULL_UP;
  LL_GPIO_Init(DCF_GPIO_Port, &GPIO_InitStruct);

  /**/
  GPIO_InitStruct.Pin = CC_Pin;
  GPIO_InitStruct.Mode = LL_GPIO_MODE_OUTPUT;
  GPIO_InitStruct.Speed = LL_GPIO_SPEED_FREQ_LOW;
  GPIO_InitStruct.OutputType = LL_GPIO_OUTPUT_PUSHPULL;
  GPIO_InitStruct.Pull = LL_GPIO_PULL_UP;
  LL_GPIO_Init(CC_GPIO_Port, &GPIO_InitStruct);

  /**/
  GPIO_InitStruct.Pin = HG_FAN_Pin;
  GPIO_InitStruct.Mode = LL_GPIO_MODE_OUTPUT;
  GPIO_InitStruct.Speed = LL_GPIO_SPEED_FREQ_LOW;
  GPIO_InitStruct.OutputType = LL_GPIO_OUTPUT_PUSHPULL;
  GPIO_InitStruct.Pull = LL_GPIO_PULL_UP;
  LL_GPIO_Init(HG_FAN_GPIO_Port, &GPIO_InitStruct);

  /**/
  GPIO_InitStruct.Pin = ZM_Pin;
  GPIO_InitStruct.Mode = LL_GPIO_MODE_OUTPUT;
  GPIO_InitStruct.Speed = LL_GPIO_SPEED_FREQ_LOW;
  GPIO_InitStruct.OutputType = LL_GPIO_OUTPUT_PUSHPULL;
  GPIO_InitStruct.Pull = LL_GPIO_PULL_UP;
  LL_GPIO_Init(ZM_GPIO_Port, &GPIO_InitStruct);

  /**/
  GPIO_InitStruct.Pin = FMQ_Pin;
  GPIO_InitStruct.Mode = LL_GPIO_MODE_OUTPUT;
  GPIO_InitStruct.Speed = LL_GPIO_SPEED_FREQ_LOW;
  GPIO_InitStruct.OutputType = LL_GPIO_OUTPUT_PUSHPULL;
  GPIO_InitStruct.Pull = LL_GPIO_PULL_UP;
  LL_GPIO_Init(FMQ_GPIO_Port, &GPIO_InitStruct);

  /**/
  GPIO_InitStruct.Pin = BJJ_8_Pin;
  GPIO_InitStruct.Mode = LL_GPIO_MODE_OUTPUT;
  GPIO_InitStruct.Speed = LL_GPIO_SPEED_FREQ_LOW;
  GPIO_InitStruct.OutputType = LL_GPIO_OUTPUT_PUSHPULL;
  GPIO_InitStruct.Pull = LL_GPIO_PULL_UP;
  LL_GPIO_Init(BJJ_8_GPIO_Port, &GPIO_InitStruct);

  /**/
  GPIO_InitStruct.Pin = BJJ_7_Pin;
  GPIO_InitStruct.Mode = LL_GPIO_MODE_OUTPUT;
  GPIO_InitStruct.Speed = LL_GPIO_SPEED_FREQ_LOW;
  GPIO_InitStruct.OutputType = LL_GPIO_OUTPUT_PUSHPULL;
  GPIO_InitStruct.Pull = LL_GPIO_PULL_UP;
  LL_GPIO_Init(BJJ_7_GPIO_Port, &GPIO_InitStruct);

  /**/
  GPIO_InitStruct.Pin = BJJ_6_Pin;
  GPIO_InitStruct.Mode = LL_GPIO_MODE_OUTPUT;
  GPIO_InitStruct.Speed = LL_GPIO_SPEED_FREQ_LOW;
  GPIO_InitStruct.OutputType = LL_GPIO_OUTPUT_PUSHPULL;
  GPIO_InitStruct.Pull = LL_GPIO_PULL_UP;
  LL_GPIO_Init(BJJ_6_GPIO_Port, &GPIO_InitStruct);

  /**/
  GPIO_InitStruct.Pin = BJJ_5_Pin;
  GPIO_InitStruct.Mode = LL_GPIO_MODE_OUTPUT;
  GPIO_InitStruct.Speed = LL_GPIO_SPEED_FREQ_LOW;
  GPIO_InitStruct.OutputType = LL_GPIO_OUTPUT_PUSHPULL;
  GPIO_InitStruct.Pull = LL_GPIO_PULL_UP;
  LL_GPIO_Init(BJJ_5_GPIO_Port, &GPIO_InitStruct);

  /**/
  GPIO_InitStruct.Pin = BJJ_4_Pin;
  GPIO_InitStruct.Mode = LL_GPIO_MODE_OUTPUT;
  GPIO_InitStruct.Speed = LL_GPIO_SPEED_FREQ_LOW;
  GPIO_InitStruct.OutputType = LL_GPIO_OUTPUT_PUSHPULL;
  GPIO_InitStruct.Pull = LL_GPIO_PULL_UP;
  LL_GPIO_Init(BJJ_4_GPIO_Port, &GPIO_InitStruct);

  /**/
  GPIO_InitStruct.Pin = BJJ_3_Pin;
  GPIO_InitStruct.Mode = LL_GPIO_MODE_OUTPUT;
  GPIO_InitStruct.Speed = LL_GPIO_SPEED_FREQ_LOW;
  GPIO_InitStruct.OutputType = LL_GPIO_OUTPUT_PUSHPULL;
  GPIO_InitStruct.Pull = LL_GPIO_PULL_UP;
  LL_GPIO_Init(BJJ_3_GPIO_Port, &GPIO_InitStruct);

  /**/
  GPIO_InitStruct.Pin = BJJ_2_Pin;
  GPIO_InitStruct.Mode = LL_GPIO_MODE_OUTPUT;
  GPIO_InitStruct.Speed = LL_GPIO_SPEED_FREQ_LOW;
  GPIO_InitStruct.OutputType = LL_GPIO_OUTPUT_PUSHPULL;
  GPIO_InitStruct.Pull = LL_GPIO_PULL_UP;
  LL_GPIO_Init(BJJ_2_GPIO_Port, &GPIO_InitStruct);

  /**/
  GPIO_InitStruct.Pin = BJJ_1_Pin;
  GPIO_InitStruct.Mode = LL_GPIO_MODE_OUTPUT;
  GPIO_InitStruct.Speed = LL_GPIO_SPEED_FREQ_LOW;
  GPIO_InitStruct.OutputType = LL_GPIO_OUTPUT_PUSHPULL;
  GPIO_InitStruct.Pull = LL_GPIO_PULL_UP;
  LL_GPIO_Init(BJJ_1_GPIO_Port, &GPIO_InitStruct);

}

void StartDefaultTask(void const * argument)
{

  /* USER CODE BEGIN 5 */
	/*
	HAL_FLASH_Unlock();
	HAL_FLASH_Program(FLASH_TYPEPROGRAM_WORD,0x800fc40,0x12345668);
	HAL_FLASH_Program(FLASH_TYPEPROGRAM_WORD,0x800fc44,0x5678);
	HAL_FLASH_Lock();
	*/

	//如果是停电,那么起来就直接冲水,然后结束
	if(is_noAC){
		osMessagePut(clearQueHandle,0x56,0);

	}else{
		//读取设置
		osMessageGet(clearQueHandle,osWaitForever);
		osTimerStart(hasSitHandle,1);
		//启动各种时钟
		osTimerStart(buttonTimerHandle,1);
	}
  /* Infinite loop */
  for(;;)
  {
		osEvent rec=	osMessageGet(clearQueHandle,osWaitForever);
		if(rec.status==osEventMessage){
			clearState=rec.value.v;
			LL_GPIO_SetOutputPin(DCS_GPIO_Port,DCS_Pin);
			switch(rec.value.v){
				case 0x34:	//润壁
					LL_GPIO_SetOutputPin(MCF_1_GPIO_Port,MCF_1_Pin);
					osDelay(MCF_PULE_MS);
					LL_GPIO_ResetOutputPin(MCF_1_GPIO_Port,MCF_1_Pin);
					osDelay(MCF_RB_MS);
					LL_GPIO_SetOutputPin(MCF_2_GPIO_Port,MCF_2_Pin);
					osDelay(MCF_PULE_MS);
					LL_GPIO_ResetOutputPin(MCF_2_GPIO_Port,MCF_2_Pin);

					break;
				case 0x45:	//小冲
					LL_GPIO_SetOutputPin(MCF_1_GPIO_Port,MCF_1_Pin);
					osDelay(MCF_PULE_MS);
					LL_GPIO_ResetOutputPin(MCF_1_GPIO_Port,MCF_1_Pin);
					osDelay(MCF_XC_U1_MS);
					LL_GPIO_SetOutputPin(MCF_2_GPIO_Port,MCF_2_Pin);
					osDelay(MCF_PULE_MS);
					LL_GPIO_ResetOutputPin(MCF_2_GPIO_Port,MCF_2_Pin);
					//下冲
					LL_GPIO_SetOutputPin(MCF_3_GPIO_Port,MCF_3_Pin);
					osDelay(MCF_PULE_MS);
					LL_GPIO_ResetOutputPin(MCF_3_GPIO_Port,MCF_3_Pin);
					osDelay(MCF_XC_D2_MS);
					LL_GPIO_SetOutputPin(MCF_4_GPIO_Port,MCF_4_Pin);
					osDelay(MCF_PULE_MS);
					LL_GPIO_ResetOutputPin(MCF_4_GPIO_Port,MCF_4_Pin);
					//上冲
					LL_GPIO_SetOutputPin(MCF_1_GPIO_Port,MCF_1_Pin);
					osDelay(MCF_PULE_MS);
					LL_GPIO_ResetOutputPin(MCF_1_GPIO_Port,MCF_1_Pin);
					osDelay(MCF_XC_U3_MS);
					LL_GPIO_SetOutputPin(MCF_2_GPIO_Port,MCF_2_Pin);
					osDelay(MCF_PULE_MS);
					LL_GPIO_ResetOutputPin(MCF_2_GPIO_Port,MCF_2_Pin);

					break;
				case 0x56:
					LL_GPIO_SetOutputPin(MCF_1_GPIO_Port,MCF_1_Pin);
					osDelay(MCF_PULE_MS);
					LL_GPIO_ResetOutputPin(MCF_1_GPIO_Port,MCF_1_Pin);
					osDelay(MCF_DC_U1_MS);
					LL_GPIO_SetOutputPin(MCF_2_GPIO_Port,MCF_2_Pin);
					osDelay(MCF_PULE_MS);
					LL_GPIO_ResetOutputPin(MCF_2_GPIO_Port,MCF_2_Pin);
					//下冲
					LL_GPIO_SetOutputPin(MCF_3_GPIO_Port,MCF_3_Pin);
					osDelay(MCF_PULE_MS);
					LL_GPIO_ResetOutputPin(MCF_3_GPIO_Port,MCF_3_Pin);
					osDelay(MCF_DC_D2_MS);
					LL_GPIO_SetOutputPin(MCF_4_GPIO_Port,MCF_4_Pin);
					osDelay(MCF_PULE_MS);
					LL_GPIO_ResetOutputPin(MCF_4_GPIO_Port,MCF_4_Pin);
				//osDelay(300);
					//上冲
					LL_GPIO_SetOutputPin(MCF_1_GPIO_Port,MCF_1_Pin);
					osDelay(MCF_PULE_MS);
					LL_GPIO_ResetOutputPin(MCF_1_GPIO_Port,MCF_1_Pin);
					osDelay(MCF_DC_U3_MS);
					LL_GPIO_SetOutputPin(MCF_2_GPIO_Port,MCF_2_Pin);
					osDelay(MCF_PULE_MS);
					LL_GPIO_ResetOutputPin(MCF_2_GPIO_Port,MCF_2_Pin);

					break;
			}
						LL_GPIO_ResetOutputPin(DCS_GPIO_Port,DCS_Pin);
			clearState=0;
		}
  }
  /* USER CODE END 5 */
}

void StartCTR(void const * argument)
{
  /* USER CODE BEGIN StartCTR */
	uint32_t toWriteData[8]={0,0,0,0,0,0,0,0};
	uint32_t * beginTick=&toWriteData[2], * endTick=&toWriteData[5],*doTick= &toWriteData[3],*hgTick=&toWriteData[4];
	uint32_t * doType=&toWriteData[1];
	timeStamp=&toWriteData[6];

	jkListRead =  *(__IO uint32_t *)JK_READ_NUM;
	jkListWrite=*(__IO uint32_t *)JK_WRITE_NUM;
	while(1){
		osEvent oet= osMessageGet(jkQueHandle,osWaitForever);
		if(oet.status== osEventMessage){
			switch(oet.value.v){
				case 0:
					*beginTick=osKernelSysTick();
				*endTick=0;
				*doTick=0;
				*hgTick=0;
				*doType=0;
					break;
				case 2:	//女洗
					*doTick=osKernelSysTick();
				*doType=2;
				break;
				case 3:
					*doTick=osKernelSysTick();
				*doType=3;
				break;
				case 4:
					*hgTick=osKernelSysTick();
				break;
				case 0xff:
					//写入记录
				*endTick=osKernelSysTick();
				if(*doType==0 && *hgTick==0) break;	//只是坐坐不记录
				if((jkListWrite<jkListRead && (jkListRead/32 == jkListWrite/32))|| (jkListRead==0 && jkListWrite==JK_MAX_NUM-1)){
					//也满了,因为部分数据有用,不能擦写掉
					//数据满了
					break;
				}
				//如果刚好是一页的开始,擦掉这一页数据
				if(jkListWrite%32==0){
					HAL_FLASH_Unlock();
					FLASH_EraseInitTypeDef fei;
					fei.PageAddress=JK_LIST_BEGIN_ADD+1024*(jkListWrite/32);
					fei.NbPages=1;
					fei.TypeErase=FLASH_TYPEERASE_PAGES;
					uint32_t err=0;
					HAL_FLASHEx_Erase(&fei,&err);
					//HAL_FLASH_Program(FLASH_TYPEPROGRAM_WORD,0x800fc40,0x12345668);
					//HAL_FLASH_Program(FLASH_TYPEPROGRAM_WORD,0x800fc44,0x5678);
					//HAL_FLASH_Lock();
				}else{
					HAL_FLASH_Unlock();
				}
				//开始写入
				//toWriteData[6]=tim
				for(int i=0;i<8;i++){
					HAL_FLASH_Program(FLASH_TYPEPROGRAM_WORD,JK_LIST_BEGIN_ADD+32*jkListWrite+4*i,toWriteData[i]);
				}
				HAL_FLASH_Lock();
				if(++jkListWrite==JK_MAX_NUM) jkListWrite=0;
					break;
			}
		}
	}
  /* USER CODE END StartCTR */
}

void HAL_TIM_PeriodElapsedCallback(TIM_HandleTypeDef *htim)
{
  if (htim->Instance == TIM17) {
    HAL_IncTick();
  }
}

void Error_Handler(void)
{
}

/************************ (C) COPYRIGHT STMicroelectronics *****END OF FILE****/
